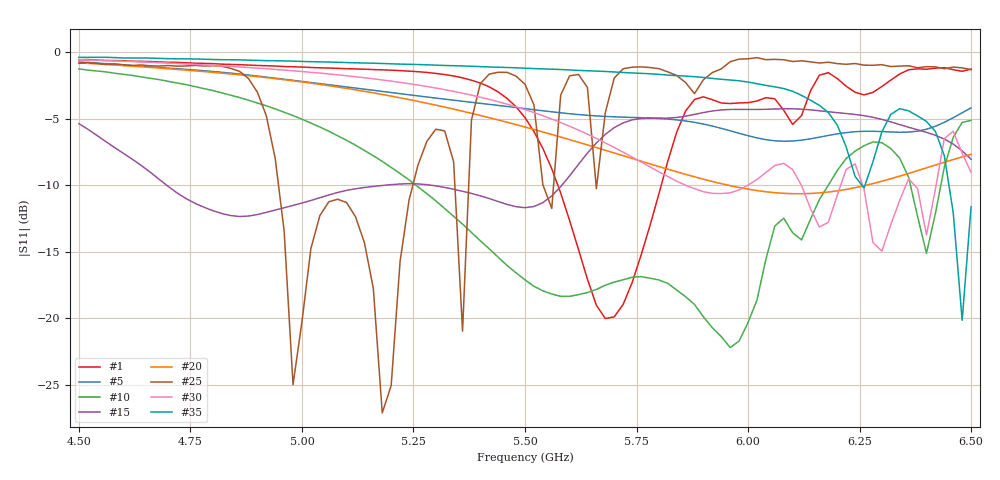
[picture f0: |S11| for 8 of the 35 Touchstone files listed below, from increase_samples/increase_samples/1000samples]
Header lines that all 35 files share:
! TOUCHSTONE file generated by CST MICROWAVE STUDIO
! Project name: L.cst
! Header version: 2018
! Port assignment regex: !\s*Touchstone port\s*([0-9]+)\s*=\s*(CST MWS port|CST DS port)\s*([0-9]+|Zmin|Zmax)\s*\(\"(.*)\"\)(\s*mode\s*([0-9]+))?.*
! Touchstone port assignment:
! Touchstone port 1 = CST MWS port 1 ("")
# GHz S DB R 50
Fixed: Di = 1.27, Epsilon_r = 1.56, InnerDiameter = 1.27, Length = 2, Lf = 10, Lg = 60, OuterConductorThickness = 0.2921, OuterDiameter = 3.6, Wf = 3, Wp = 41.2, de = 1.5, df = 6.8, g = 0.8, h = 2.34, hf = 1.524, w = 9.7
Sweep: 4.5 GHz to 6.5 GHz
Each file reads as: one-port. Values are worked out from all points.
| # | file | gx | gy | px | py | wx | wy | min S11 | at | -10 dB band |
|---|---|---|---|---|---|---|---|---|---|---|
| 1 | S_1000samples801.s1p | 2.56056 | 1.83408 | 8.63213 | 13.9631 | 6.07157 | 12.129 | -20.0 dB | 5.68 GHz | 231.8 MHz wide |
| 2 | S_1000samples802.s1p | 4.56035 | 3.85383 | 13.9619 | 14.0722 | 9.40158 | 10.2184 | -17.0 dB | 6.38 GHz | over 277.3 MHz wide |
| 3 | S_1000samples803.s1p | 2.85584 | 1.35384 | 10.5467 | 10.3077 | 7.69082 | 8.95385 | -3.6 dB | 6.5 GHz | - |
| 4 | S_1000samples804.s1p | 2.74753 | 4.79294 | 14.4727 | 14.6635 | 11.7252 | 9.87061 | -16.3 dB | 6.04 GHz | 233.2 MHz wide |
| 5 | S_1000samples805.s1p | 4.17117 | 0.47815 | 11.9415 | 10.1204 | 7.7703 | 9.64224 | -6.7 dB | 6.08 GHz | - |
| 6 | S_1000samples806.s1p | 1.29618 | 4.2207 | 8.43633 | 14.4931 | 7.14015 | 10.2724 | -4.8 dB | 6.26 GHz | - |
| 7 | S_1000samples807.s1p | 1.72567 | 1.24491 | 9.58374 | 9.11488 | 7.85807 | 7.86997 | -4.6 dB | 6.5 GHz | - |
| 8 | S_1000samples808.s1p | 1.18634 | 1.49781 | 9.02919 | 14.6511 | 7.84285 | 13.1533 | -27.1 dB | 5.42 GHz | 302.5 MHz wide |
| 9 | S_1000samples809.s1p | 3.93012 | 2.38608 | 11.014 | 14.0241 | 7.08389 | 11.6381 | -8.3 dB | 6.1 GHz | - |
| 10 | S_1000samples810.s1p | 3.16596 | 3.05691 | 14.2979 | 11.4811 | 11.1319 | 8.4242 | -22.2 dB | 5.96 GHz | 924.2 MHz wide |
| 11 | S_1000samples812.s1p | 3.65547 | 4.83924 | 14.6052 | 13.3885 | 10.9498 | 8.54924 | -22.8 dB | 6.18 GHz | 546.2 MHz wide |
| 12 | S_1000samples813.s1p | 0.984844 | 2.51583 | 14.6309 | 10.417 | 13.646 | 7.90114 | -15.3 dB | 4.94 GHz | 87.43 MHz wide |
| 13 | S_1000samples814.s1p | 4.88311 | 3.25414 | 9.94151 | 13.7861 | 5.0584 | 10.532 | -16.8 dB | 6.48 GHz | over 78.2 MHz wide |
| 14 | S_1000samples815.s1p | 1.01641 | 3.22199 | 8.28094 | 10.9896 | 7.26453 | 7.76758 | -5.3 dB | 6.5 GHz | - |
| 15 | S_1000samples817.s1p | 0.846383 | 2.08253 | 11.99 | 10.5663 | 11.1437 | 8.48378 | -12.3 dB | 4.86 GHz | 488.3 MHz wide |
| 16 | S_1000samples818.s1p | 4.35122 | 3.59064 | 13.1078 | 12.9605 | 8.75657 | 9.36988 | -6.1 dB | 6.5 GHz | - |
| 17 | S_1000samples820.s1p | 4.20369 | 2.10304 | 8.52258 | 14.604 | 4.31889 | 12.5009 | -27.2 dB | 5.72 GHz | 181.8 MHz wide |
| 18 | S_1000samples821.s1p | 3.59614 | 3.91048 | 14.3712 | 13.7982 | 10.775 | 9.88768 | -21.9 dB | 6.24 GHz | 757.7 MHz wide |
| 19 | S_1000samples822.s1p | 4.78436 | 2.67265 | 13.8952 | 13.3577 | 9.11088 | 10.6851 | -15.0 dB | 6.42 GHz | 65.45 MHz wide |
| 20 | S_1000samples823.s1p | 1.36317 | 3.21466 | 10.7207 | 10.0794 | 9.35754 | 6.86472 | -10.6 dB | 6.12 GHz | 308.5 MHz wide |
| 21 | S_1000samples824.s1p | 0.819714 | 2.22074 | 13.3906 | 13.9727 | 12.5709 | 11.752 | -14.8 dB | 5.74 GHz | 128.5 MHz wide |
| 22 | S_1000samples825.s1p | 0.866693 | 1.2505 | 11.1526 | 10.5395 | 10.2859 | 9.28904 | -21.9 dB | 5.08 GHz | 1.037 GHz wide |
| 23 | S_1000samples826.s1p | 4.8013 | 2.66111 | 11.6465 | 13.4977 | 6.8452 | 10.8366 | -9.1 dB | 6.42 GHz | - |
| 24 | S_1000samples827.s1p | 4.8263 | 2.48747 | 11.8662 | 13.6091 | 7.03995 | 11.1216 | -23.3 dB | 6.5 GHz | over 24.26 MHz wide |
| 25 | S_1000samples828.s1p | 4.62201 | 0.969097 | 9.78248 | 14.994 | 5.16048 | 14.0249 | -27.1 dB | 5.18 GHz | 301.1 MHz wide |
| 26 | S_1000samples830.s1p | 1.11837 | 2.54539 | 12.1717 | 9.66696 | 11.0533 | 7.12157 | -16.1 dB | 5.16 GHz | 936.8 MHz wide |
| 27 | S_1000samples831.s1p | 3.29915 | 0.580979 | 12.1873 | 10.9702 | 8.88815 | 10.3892 | -10.5 dB | 6.5 GHz | over 4.745 MHz wide |
| 28 | S_1000samples832.s1p | 2.29188 | 0.827893 | 9.68779 | 13.7811 | 7.39591 | 12.9533 | -22.8 dB | 5.12 GHz | 286.8 MHz wide |
| 29 | S_1000samples833.s1p | 3.54859 | 1.79645 | 14.1249 | 10.6464 | 10.5763 | 8.84998 | -10.0 dB | 5.28 GHz | 33.47 MHz wide |
| 30 | S_1000samples835.s1p | 4.98031 | 3.23733 | 14.3206 | 14.3689 | 9.34032 | 11.1315 | -15.0 dB | 6.3 GHz | 139.4 MHz wide |
| 31 | S_1000samples836.s1p | 0.937691 | 3.908 | 10.8395 | 9.26958 | 9.90185 | 5.36158 | -10.2 dB | 5.82 GHz | 129.8 MHz wide |
| 32 | S_1000samples837.s1p | 4.06917 | 1.62101 | 10.1674 | 12.1146 | 6.09821 | 10.4935 | -5.8 dB | 6.26 GHz | - |
| 33 | S_1000samples838.s1p | 3.45846 | 2.7876 | 13.2871 | 13.5952 | 9.82864 | 10.8076 | -15.5 dB | 6.44 GHz | over 95.94 MHz wide |
| 34 | S_1000samples839.s1p | 2.21881 | 0.523997 | 9.93591 | 9.83715 | 7.7171 | 9.31315 | -7.8 dB | 6.32 GHz | - |
| 35 | S_1000samples840.s1p | 4.44634 | 4.2729 | 11.6828 | 14.8615 | 7.2365 | 10.5886 | -20.2 dB | 6.48 GHz | over 49.64 MHz wide |
